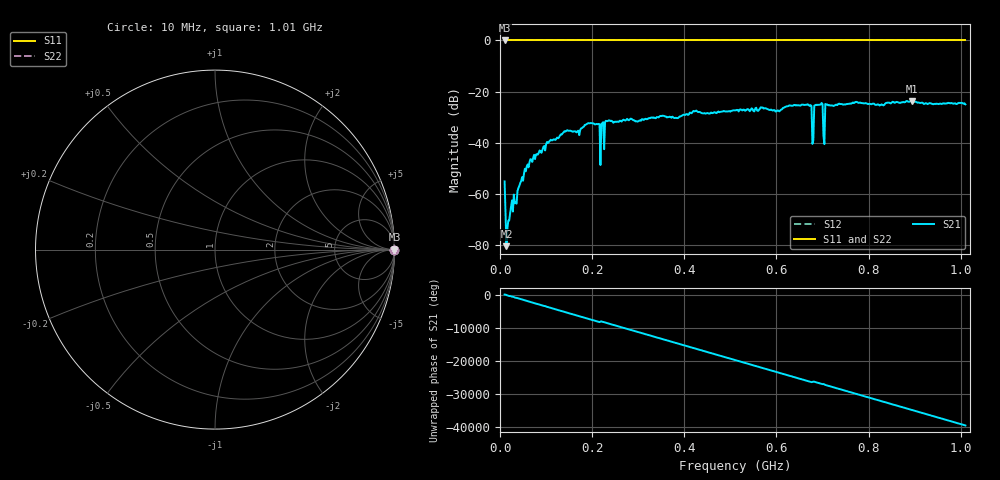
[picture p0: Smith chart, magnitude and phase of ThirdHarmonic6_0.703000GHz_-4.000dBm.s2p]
! 8/15/2025 11:28:55 PM
! C:\ANRITSUVNA\TEMP\TEMP.S2P
! CHANNEL.1
! TR.MEASUREMENT
! RAW.DATA
! RF.CORRECTION.OFF
! AVERAGING.OFF
! IF.BANDWIDTH: 5KHZ
! SWEEPTYPE:  FREQ.SWEEP(Linear)
! Reference Plane Port Info
! PORT:  PORT1  PORT2
! DISTANCE:  0  m  0  m
! TIME:  0  s  0  s
! PHASE.OFFSET:  0  deg.  0  deg.
! LOSS:  0  dB  0  dB
! REF.LOSS:  0  dB  0  dB
! REF.FREQ:  0  Hz  0  Hz
! Power Info
! POWER:  -20  dBm  -20  dBm
! EFF.POWER:  -20  dBm  -20  dBm
! SOURCE.ATTEN:  0  dB  0  dB
! TEST.ATTEN:  0  dB  0  dB
# GHZ S RI R 50.0
! FREQ.GHZ  S11RE  S11IM  S21RE  S21IM  S12RE  S12IM  S22RE  S22IM
!; PortSelection: Port_12
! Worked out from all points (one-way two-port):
!   501 points, 10 MHz to 1.01 GHz, reference 50 ohm
!   highest |S21| = -23.66 dB at 894 MHz (marker M1); lowest = -80.5 dB at 14 MHz (marker M2)
!   lowest |S11| = 0.0 dB at 10 MHz (marker M3)
!   |S11| at or under -10 dB: nowhere
!   |S22| runs from 0.0 to 0.0 dB; largest |S21 - S12| = 1.1
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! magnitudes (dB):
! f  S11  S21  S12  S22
! 10 MHz  0.0  -55.2  0.0  0.0
! 14 MHz  0.0  -80.5  0.0  0.0
! 18 MHz  0.0  -70.5  0.0  0.0
! 26 MHz  0.0  -62.6  0.0  0.0
! 70 MHz  0.0  -47.5  0.0  0.0
! 178 MHz  0.0  -34.3  0.0  0.0
! 212 MHz  0.0  -32.8  0.0  0.0
! 222 MHz  0.0  -32.4  0.0  0.0
! 232 MHz  0.0  -31.6  0.0  0.0
! 344 MHz  0.0  -30.1  0.0  0.0
! 510 MHz  0.0  -27.4  0.0  0.0
! 666 MHz  0.0  -25.1  0.0  0.0
! 678 MHz  0.0  -40.5  0.0  0.0
! 682 MHz  0.0  -25.6  0.0  0.0
! 686 MHz  0.0  -25.2  0.0  0.0
! 696 MHz  0.0  -25.1  0.0  0.0
! 700 MHz  0.0  -25.0  0.0  0.0
! 706 MHz  0.0  -24.9  0.0  0.0
! 710 MHz  0.0  -25.0  0.0  0.0
! 844 MHz  0.0  -24.3  0.0  0.0
! 894 MHz  0.0  -23.7  0.0  0.0
! 1.01 GHz  0.0  -25.0  0.0  0.0
